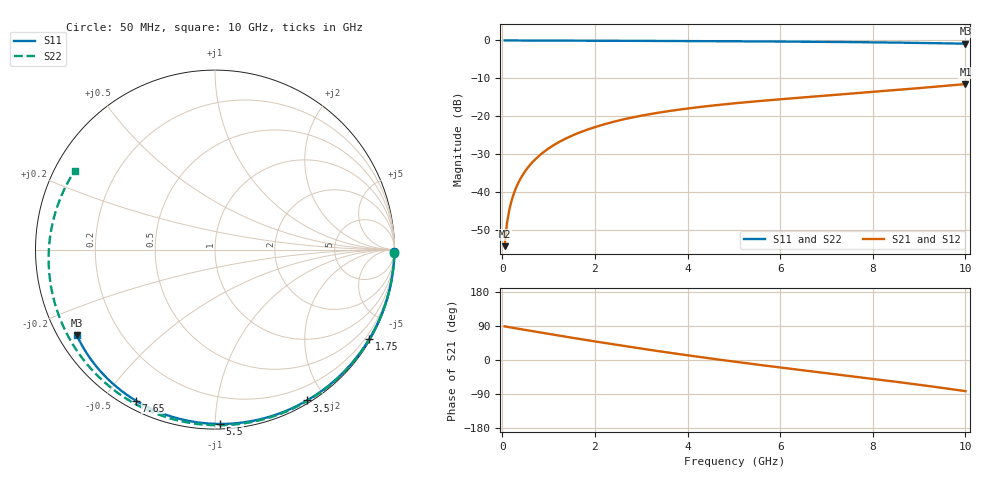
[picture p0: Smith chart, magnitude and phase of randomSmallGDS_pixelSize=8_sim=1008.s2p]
! freq	dB(S11)	phase(S11)	dB(S12)	phase(S12)
!  dB(S21)	phase(S21)	dB(S22)	phase(S22)
!S-par simulation data
#  GHz  S  DB  R 50
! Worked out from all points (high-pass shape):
!   200 points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, 50 MHz to 10 GHz, reference 50 ohm
!   highest |S21| = -11.52 dB at 10 GHz (marker M1); lowest = -54.3 dB at 50 MHz (marker M2)
!   |S21| within 3 dB of the highest: 7.033 GHz to end of sweep
!   lowest |S11| = -0.9 dB at 10 GHz (marker M3), VSWR 20.23, Z = 2.67 - j14.2 ohm
!   |S11| at or under -10 dB: nowhere
!   |S22| runs from -0.9 to 0.0 dB; largest |S21 - S12| = 0
!   S11 on the Smith chart (normalised r, x): 50 MHz: open; 1.75 GHz: 0.05, -3.71; 3.5 GHz: 0.03, -1.78; 5.5 GHz: 0.03, -1.03; 7.65 GHz: 0.03, -0.60; 10 GHz: 0.05, -0.28
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0.05  -0.00 -0.9  -54.27 88.8  -54.27 88.8  -0.00 -1.2
0.1  -0.00 -1.8  -48.27 87.6  -48.27 87.6  -0.00 -2.4
0.15  -0.00 -2.6  -44.77 86.5  -44.77 86.5  -0.00 -3.7
0.2  -0.01 -3.5  -42.28 85.5  -42.28 85.5  -0.01 -4.9
0.25  -0.01 -4.4  -40.36 84.4  -40.36 84.4  -0.01 -6.1
0.35  -0.01 -6.1  -37.46 82.4  -37.46 82.4  -0.01 -8.5
0.5  -0.01 -8.7  -34.39 79.3  -34.39 79.3  -0.02 -12.1
0.7  -0.02 -12.2  -31.51 75.1  -31.51 75.1  -0.02 -16.9
1  -0.03 -17.4  -28.49 69.0  -28.49 69.0  -0.04 -24.1
1.35  -0.04 -23.4  -26.00 61.9  -26.00 61.9  -0.05 -32.3
1.75  -0.06 -30.2  -23.91 53.9  -23.91 53.9  -0.07 -41.6
2.6  -0.09 -44.2  -20.86 37.6  -20.86 37.6  -0.11 -60.8
3.4  -0.13 -57.0  -19.00 22.9  -19.00 22.9  -0.15 -78.0
3.5  -0.13 -58.6  -18.81 21.1  -18.81 21.1  -0.16 -80.1
4.25  -0.17 -70.1  -17.58 8.2  -17.58 8.2  -0.21 -95.5
5.05  -0.22 -82.0  -16.54 -4.9  -16.54 -4.9  -0.26 -111.3
5.5  -0.25 -88.4  -16.04 -12.0  -16.04 -12.0  -0.29 -119.9
6.7  -0.34 -105.1  -14.84 -30.3  -14.84 -30.3  -0.41 -142.6
7.65  -0.45 -117.7  -13.92 -44.5  -13.92 -44.5  -0.52 -160.6
8.35  -0.54 -126.8  -13.23 -55.1  -13.23 -55.1  -0.62 -174.2
9.2  -0.69 -137.8  -12.36 -68.6  -12.36 -68.6  -0.78 168.3
10  -0.86 -148.1  -11.52 -82.2  -11.52 -82.2  -0.95 150.7
